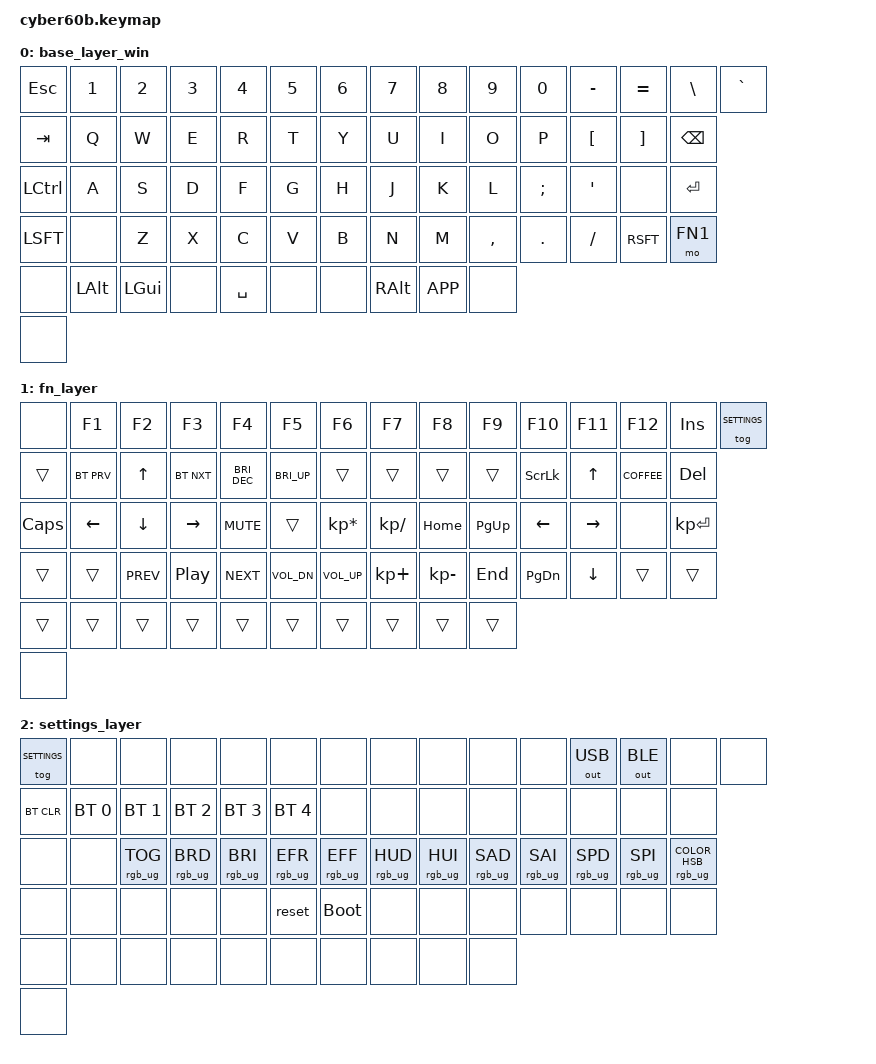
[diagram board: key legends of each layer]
#include <behaviors.dtsi>
#include <dt-bindings/zmk/keys.h>
#include <dt-bindings/zmk/bt.h>
#include <dt-bindings/zmk/outputs.h>
#include <dt-bindings/zmk/rgb.h>


#define FN1 1
#define SETTINGS 2
/ {
	keymap {
		compatible = "zmk,keymap";
		base_layer_win {
// Base layer with ctrl at backspace position
// ------------------------------------------------------------------------------------------
// | ESC |  1  |  2  |  3  |  4  |  5  |  6  |  7  |  8  |  9  |  0  |  -  |  =  | "|" |  ~ |
// | TAB   |  Q |  W  |  E  |  R  |  T  |  Y  |  U  |  I  |  O  |  P  |  [  |  ]  |   BKSP  |
// | LCTL  |  A  |  S  |  D  |  F  |  G  |  H  |  J  |  K  |  L  |  ;  |  '  |     ENTER    |
// | SHIFT |none| Z |  X  |  C  |  V  |  B  |  N  |  M  |  ,  |  .  |  /  |    Shift   | FN |
// |  NONE |  LALT  |  LWIN  |  NONE  |     SPACE  |  NONE   |  NONE |  RALT | RMENU | NONE |
// ------------------------------------------------------------------------------------------
				bindings = <
	&kp ESC		&kp NUM_1	&kp NUM_2	&kp NUM_3	&kp NUM_4 &kp NUM_5 &kp NUM_6	&kp NUM_7	&kp NUM_8 &kp NUM_9	&kp NUM_0	&kp MINUS	&kp EQL		&kp BSLH	&kp GRAV
	&kp TAB		&kp   Q	&kp   W		&kp   E		&kp   R   &kp   T   &kp   Y		&kp   U		&kp   I   &kp   O	&kp   P		&kp LBKT	&kp RBKT	&kp BKSP
	&kp LCTL	&kp   A	&kp   S		&kp   D		&kp   F   &kp   G   &kp   H		&kp   J		&kp   K   &kp   L	&kp  SCLN	&kp  QUOT	&none		&kp RET
	&kp LSFT	&none		&kp   Z		&kp   X		&kp   C   &kp   V   &kp   B		&kp   N		&kp   M   &kp  CMMA &kp  DOT	&kp  FSLH	&kp RSFT	&mo FN1
	&none	&kp LALT		&kp LGUI				&none			&kp  SPC	&none		&none			&kp  RALT	&kp K_APP	&none
	&none
			>;
		};
		fn_layer {
// Function layer
// ------------------------------------------------------------------------------------------
// | NON  |  F1 |  F2 |  F3 |  F4 |  F5 |  F6 |  F7 |  F8 |  F9 | F10 | F11 | F12 |INS | SETT|
// | TAB  |BTPRV|  UP |BTNXT| TOG0| TOG1| TOG2| BT3 | BT4 | PRNT| SLCKL | UP  | LOCK |  DEL |
// | CAPS  |LEFT |DOWN |RIGHT|MUTE |  G  |  *  |  /  | HOME| PGUP| LEFT|RIGHT|    KP_ENTER  |
// | SHIFT |none|PRV|PLAYP|NEXT | VOLD| VOLU|  +  |  -  | END | PGDN| DOWN|    Shift   | FN |
// |  LCTL  |  LGUI  |  LWIN  |  RALT  | FN |     SPACE     |  RALT |  RWIN | RMENU | RCTRL |
// ------------------------------------------------------------------------------------------
			bindings = <
	&none			&kp F1		&kp F2			&kp F3			&kp F4			&kp F5			&kp F6			&kp F7			&kp F8			&kp F9			&kp F10		&kp F11		&kp F12			&kp INS	&tog SETTINGS
	&trans			&bt BT_PRV  &kp UP			&bt BT_NXT		&kp C_BRI_DEC	&kp C_BRI_UP	&trans			&trans			&trans			&trans			&kp SLCK	&kp UP		&kp K_COFFEE	&kp DEL
	&kp CLCK		&kp LEFT	&kp DOWN		&kp RIGHT		&kp K_MUTE		&trans			&kp KP_ASTERISK	&kp KP_SLASH	&kp HOME		&kp PG_UP		&kp LEFT	&kp RIGHT	&none			&kp KP_ENTER
	&trans			&trans		&kp C_PREV		&kp C_PP		&kp C_NEXT		&kp C_VOL_DN	&kp C_VOL_UP	&kp KP_PLUS		&kp KP_MINUS	&kp END			&kp PG_DN	&kp DOWN	&trans		&trans
	&trans			&trans		&trans				&trans			&trans			&trans			&trans			&trans			&trans			&trans
	&none
			>;
		};
		settings_layer {
// Settings layer to change keyboard behaviour
// ------------------------------------------------------------------------------------------
// | EXIT| RST | NON | NON | NON | NON | NON | NON | NON | NON | NON | USB | BLE | NON |NON |
// | BTCLR| BT0 | BT1 | BT2 | BT3 | BT4 | NON | NON | NON | NON | NON | NON | NON |   NON   |
// |  NON  | NON | NON | NON | NON | NON | NON | NON | NON | NON | NON | NON |     NON      |
// |  NON | NON |NON| NON | NON | NON | BOOT(b) | NON | NON | NON | NON | NON |  NON  | NON |
// |   NON  |  NON   |  NON   |   NON  | NON |    NON       |  NON  |  NON  |  NON  |  NON  |
// ------------------------------------------------------------------------------------------
				bindings = <
	&tog SETTINGS		&none	&none			&none			&none	&none	&none	&none	&none	&none	&none	&out OUT_USB	&out OUT_BLE	&none	&none
	&bt BT_CLR  &bt BT_SEL 0	&bt BT_SEL 1	&bt BT_SEL 2	&bt BT_SEL 3	&bt BT_SEL 4	&none	&none	&none	&none   &none   &none	&none	&none
	&none	&none		&rgb_ug RGB_TOG &rgb_ug RGB_BRD	&rgb_ug RGB_BRI &rgb_ug RGB_EFR &rgb_ug  RGB_EFF	&rgb_ug RGB_HUD	&rgb_ug RGB_HUI	&rgb_ug RGB_SAD	&rgb_ug RGB_SAI	&rgb_ug RGB_SPD	&rgb_ug RGB_SPI	&rgb_ug RGB_COLOR_HSB(128,100,100)
	&none	&none		&none			&none			&none			&reset			&bootloader		&none	&none	&none	&none	&none	&none	&none
	&none	&none		&none							&none			&none			&none			&none			&none	&none	&none
	&none
			>;
		};
	};
};
